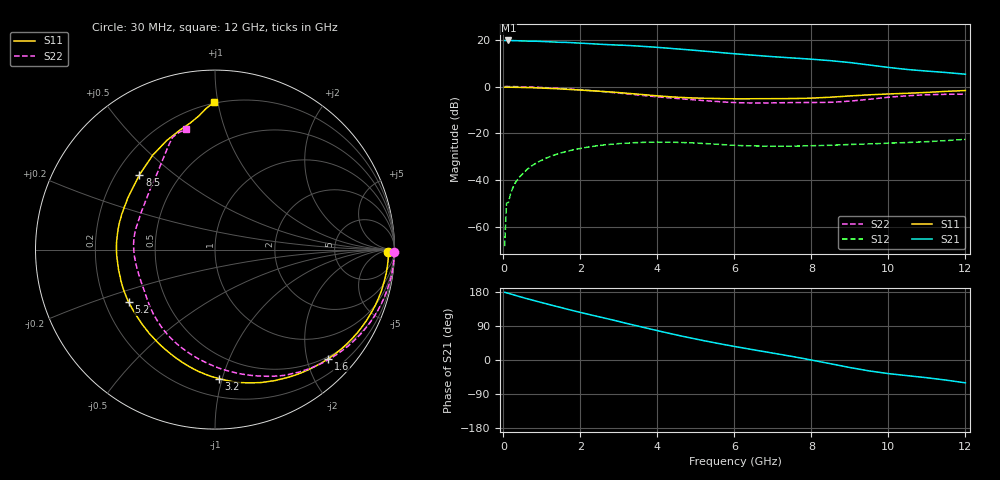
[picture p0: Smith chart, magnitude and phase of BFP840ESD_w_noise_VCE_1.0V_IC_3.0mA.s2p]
! Infineon Technologies  Discrete & RF Semiconductors
! BFP840ESD
! VCE =  1.0 V,  IC =  3.0 mA
! Common Emitter S-Parameters:  May 2012
# GHz  S  MA  R  50
!  f  S11  S21  S12  S22
! GHz  MAG  ANG  MAG  ANG  MAG  ANG  MAG  ANG
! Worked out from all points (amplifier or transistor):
!   93 points, 30 MHz to 12 GHz, reference 50 ohm
!   highest |S21| = 19.6 dB at 130 MHz (marker M1)
!   |S21| within 3 dB of that: start of sweep to 4.045 GHz
!   unconditionally stable (mu >= 1): 6.554 GHz to 10.91 GHz
!   at 1.1 GHz: K = 0.14, MSG = 24.8 dB, |S12| = -30.5 dB
!   at 4.2 GHz: K = 0.47, MSG = 20.0 dB, |S12| = -23.7 dB
!   at 12 GHz: K = 0.74, MSG = 13.9 dB, |S12| = -22.5 dB
!   lowest NFmin = 0.48 dB at 450 MHz
!   S11 on the Smith chart (normalised r, x): 30 MHz: 50, -20; 1.6 GHz: 0.46, -2.41; 3.2 GHz: 0.33, -0.98; 5.2 GHz: 0.30, -0.26; 8.5 GHz: 0.30, +0.38; 12 GHz: 0.19, +0.98
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0.03  0.9663 -0.8  9.544 178.6  0.0004 57.9  0.9975 -0.7
0.08  0.9663 -2.2  9.533 177.2  0.0033 105.2  0.9992 -2.0
0.13  0.9663 -3.6  9.552 176.0  0.0034 88.2  0.9982 -3.4
0.33  0.9612 -9.1  9.432 169.9  0.0095 83.4  0.9932 -8.6
0.9  0.9327 -24.7  9.167 154.0  0.0247 69.0  0.9609 -23.2
1.2  0.911 -32.9  8.934 146.0  0.032 62.3  0.9355 -30.8
1.6  0.8765 -43.9  8.724 135.6  0.0408 54.0  0.895 -40.8
2.1  0.8302 -57.3  8.293 123.1  0.0498 43.5  0.8388 -53.1
2.6  0.7835 -71.0  7.869 111.3  0.0568 34.4  0.7766 -65.3
3.2  0.7187 -88.2  7.489 96.6  0.0623 24.0  0.6974 -80.2
3.6  0.6758 -100.1  7.165 87.0  0.0646 17.5  0.6479 -90.8
4.1  0.6241 -115.5  6.709 75.1  0.0656 10.0  0.5937 -104.3
4.7  0.5818 -134.0  6.138 61.6  0.064 2.2  0.5402 -119.8
5.2  0.5632 -148.6  5.673 51.1  0.0613 -2.7  0.5025 -131.6
6.1  0.5474 -170.9  4.908 34.0  0.0556 -6.4  0.4529 -152.1
7.3  0.5535 163.7  4.157 12.9  0.0536 -5.3  0.4527 -179.4
7.9  0.5636 150.0  3.864 1.8  0.0547 -5.0  0.4565 167.6
8.5  0.5922 135.3  3.545 -9.9  0.0562 -4.7  0.4613 152.5
9  0.63 123.5  3.236 -19.9  0.0584 -5.3  0.4883 138.7
9.5  0.6654 113.7  2.873 -28.8  0.06 -6.3  0.535 126.8
10.5  0.7185 101.1  2.299 -41.4  0.0643 -8.1  0.6354 114.0
12  0.8209 90.2  1.827 -60.2  0.0751 -11.6  0.6899 103.5
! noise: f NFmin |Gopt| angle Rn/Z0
0.45  0.48  0.61  2  0.3
0.9  0.49  0.61  7  0.27
1.5  0.53  0.61  19  0.23
1.9  0.58  0.6  21  0.2
2.4  0.61  0.53  33  0.19
3.5  0.68  0.43  58  0.15
5.5  0.87  0.32  116  0.11
8  1.11  0.43  -150  0.06
10  1.33  0.54  -108  0.16
12  1.62  0.59  -85  0.28
